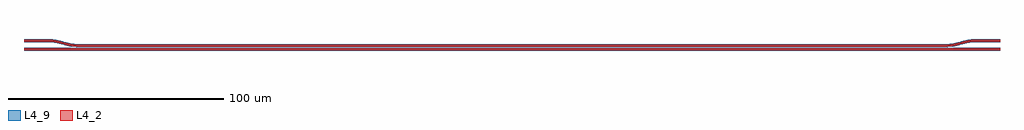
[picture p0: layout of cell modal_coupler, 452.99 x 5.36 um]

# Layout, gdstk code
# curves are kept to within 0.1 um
import gdstk
lib = gdstk.Library(unit=1e-6, precision=5e-09)
def R(c, l, rs):  # rectangles x0, y0, x1, y1
    for r in rs: c.add(gdstk.rectangle(r[:2], r[2:], *l))
def P(c, l, *ps):  # polygons
    for p in ps: c.add(gdstk.Polygon(p, *l))
L4_2 = (4, 2)
L4_9 = (4, 9)

directional_coupler_wg1a = lib.new_cell('Directional_coupler_wg1a')
R(directional_coupler_wg1a, L4_2, [(-200,-1.275,0,-0.425)])
P(directional_coupler_wg1a, L4_9, [(-200,-1.525),(0,-1.525),(0,-1.275),(0,-0.425),(0,-0.175),(-200,-0.175),(-200,-0.425),(-200,-1.275)])

directional_coupler_wg2a = lib.new_cell('Directional_coupler_wg2a')
R(directional_coupler_wg2a, L4_2, [(-200,0.425,0,1.275)])
P(directional_coupler_wg2a, L4_9, [(-200,0.175),(0,0.175),(0,0.425),(0,1.275),(0,1.525),(-200,1.525),(-200,1.275),(-200,0.425)])

directional_coupler_wg1b = lib.new_cell('Directional_coupler_wg1b')
R(directional_coupler_wg1b, L4_2, [(0,-1.275,200,-0.425)])
P(directional_coupler_wg1b, L4_9, [(0,-1.525),(200,-1.525),(200,-1.275),(200,-0.425),(200,-0.175),(0,-0.175),(0,-0.425),(0,-1.275)])

directional_coupler_wg2b = lib.new_cell('Directional_coupler_wg2b')
R(directional_coupler_wg2b, L4_2, [(0,0.425,200,1.275)])
P(directional_coupler_wg2b, L4_9, [(0,0.175),(200,0.175),(200,0.425),(200,1.275),(200,1.525),(0,1.525),(0,1.275),(0,0.425)])

directional_coupler = lib.new_cell('Directional_coupler')
directional_coupler.add(gdstk.Reference(directional_coupler_wg1a, (0,0)))
directional_coupler.add(gdstk.Reference(directional_coupler_wg2a, (0,0)))
directional_coupler.add(gdstk.Reference(directional_coupler_wg1b, (0,0)))
directional_coupler.add(gdstk.Reference(directional_coupler_wg2b, (0,0)))

modal_coupler_wg_in1 = lib.new_cell('modal_coupler_wg_in1')
R(modal_coupler_wg_in1, L4_2, [(-226.495,-1.275,-200,-0.425)])
P(modal_coupler_wg_in1, L4_9, [(-200,-0.175),(-226.495,-0.175),(-226.495,-0.425),(-226.495,-1.275),(-226.495,-1.525),(-200,-1.525),(-200,-1.275),(-200,-0.425)])

modal_coupler_wg_in2 = lib.new_cell('modal_coupler_wg_in2')
P(modal_coupler_wg_in2, L4_2, [(-200,1.275),(-202.595,1.325),(-204.505,1.54),(-210.54,3.035),(-213.515,3.505),(-226.495,3.58),(-226.495,2.73),(-215.515,2.725),(-212.94,2.6),(-210.73,2.205),(-205.63,0.895),(-203.315,0.525),(-200,0.425)])
P(modal_coupler_wg_in2, L4_9, [(-200,1.525),(-202.58,1.575),(-204.46,1.785),(-210.81,3.35),(-213.495,3.755),(-226.495,3.83),(-226.495,2.48),(-213.595,2.41),(-211.41,2.1),(-205.685,0.65),(-203.335,0.275),(-200,0.175)])

modal_coupler_wg_out1 = lib.new_cell('modal_coupler_wg_out1')
R(modal_coupler_wg_out1, L4_2, [(200,-1.275,226.495,-0.425)])
P(modal_coupler_wg_out1, L4_9, [(200,-1.525),(226.495,-1.525),(226.495,-1.275),(226.495,-0.425),(226.495,-0.175),(200,-0.175),(200,-0.425),(200,-1.275)])

modal_coupler_wg_out2 = lib.new_cell('modal_coupler_wg_out2')
P(modal_coupler_wg_out2, L4_2, [(200,0.425),(202.645,0.475),(204.645,0.7),(210.73,2.205),(213.26,2.63),(226.495,2.73),(226.495,3.58),(215.51,3.575),(212.845,3.445),(210.54,3.035),(204.505,1.54),(202.595,1.325),(200,1.275)])
P(modal_coupler_wg_out2, L4_9, [(200,0.175),(202.66,0.225),(204.69,0.455),(211.1,2.035),(213.595,2.41),(226.495,2.48),(226.495,3.83),(214.84,3.815),(212.14,3.605),(204.46,1.785),(202.58,1.575),(200,1.525)])

modal_coupler = lib.new_cell('modal_coupler')
modal_coupler.add(gdstk.Reference(directional_coupler, (0,0)))
modal_coupler.add(gdstk.Reference(modal_coupler_wg_in1, (0,0)))
modal_coupler.add(gdstk.Reference(modal_coupler_wg_in2, (0,0)))
modal_coupler.add(gdstk.Reference(modal_coupler_wg_out1, (0,0)))
modal_coupler.add(gdstk.Reference(modal_coupler_wg_out2, (0,0)))

lib.write_gds('modal_coupler.gds')
